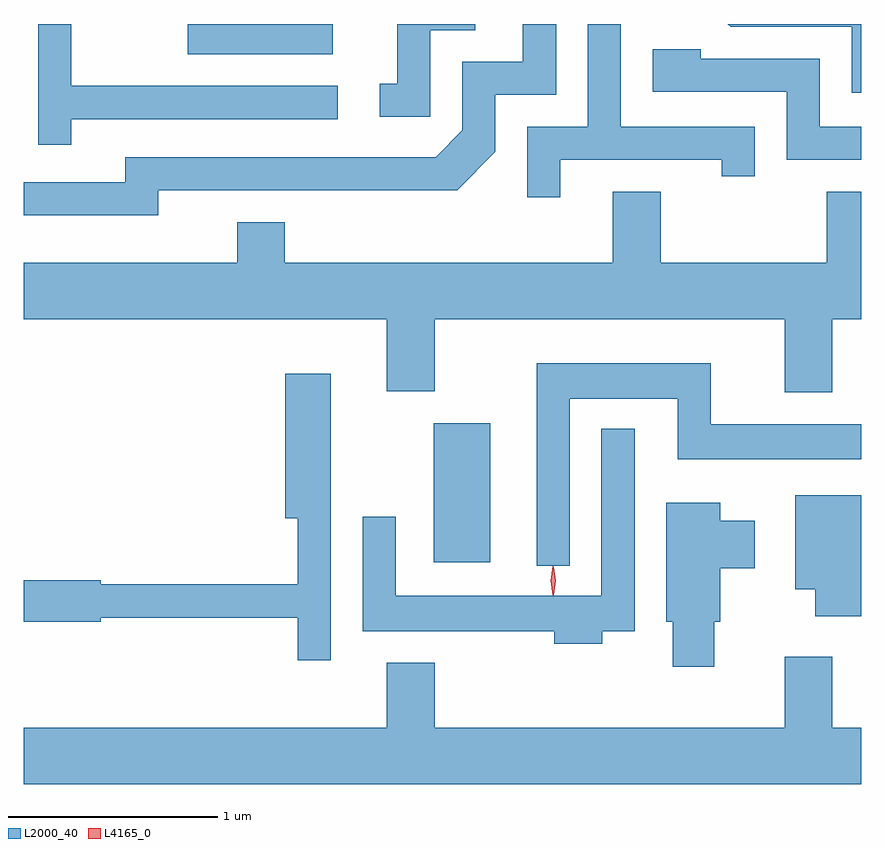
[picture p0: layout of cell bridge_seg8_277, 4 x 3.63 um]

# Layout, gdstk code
import gdstk
lib = gdstk.Library(unit=1e-6, precision=1e-09)
def R(c, l, rs):  # rectangles x0, y0, x1, y1
    for r in rs: c.add(gdstk.rectangle(r[:2], r[2:], *l))
def P(c, l, *ps):  # polygons
    for p in ps: c.add(gdstk.Polygon(p, *l))
L2000_40 = (2000, 40)
L4165_0 = (4165, 0)

bridge_seg8_277 = lib.new_cell('bridge_seg8_277')
R(bridge_seg8_277, L2000_40, [(1317.496,1815.276,1317.764,1815.939), (1316.321,1817.701,1317.014,1817.845)])
P(bridge_seg8_277, L2000_40, [(1315.764,1817.391),(1317.038,1817.391),(1317.038,1817.549),(1315.764,1817.549),(1315.764,1817.845),(1315.606,1817.845),(1315.606,1817.268),(1315.764,1817.268)],
  [(1319.537,1817.845),(1318.9,1817.845),(1318.914,1817.831),(1319.491,1817.831),(1319.491,1817.516),(1319.537,1817.516)],
  [(1318.099,1817.196),(1318.871,1817.196),(1318.871,1817.118),(1319.029,1817.118),(1319.029,1817.354),(1318.389,1817.354),(1318.389,1817.845),(1318.231,1817.845),(1318.231,1817.354),(1317.941,1817.354),(1317.941,1817.018),(1318.099,1817.018)],
  [(1316.179,1817.051),(1317.607,1817.051),(1317.789,1817.234),(1317.789,1817.506),(1318.079,1817.506),(1318.079,1817.845),(1317.921,1817.845),(1317.921,1817.664),(1317.631,1817.664),(1317.631,1817.337),(1317.504,1817.209),(1316.021,1817.209),(1316.021,1817.089),(1315.537,1817.089),(1315.537,1816.931),(1316.179,1816.931)],
  [(1317.479,1817.816),(1317.694,1817.816),(1317.694,1817.845),(1317.321,1817.845),(1317.321,1817.559),(1317.238,1817.559),(1317.238,1817.401),(1317.479,1817.401)],
  [(1319.537,1817.354),(1319.339,1817.354),(1319.339,1817.679),(1318.769,1817.679),(1318.769,1817.724),(1318.541,1817.724),(1318.541,1817.521),(1319.181,1817.521),(1319.181,1817.196),(1319.537,1817.196)],
  [(1319.399,1816.436),(1319.537,1816.436),(1319.537,1817.044),(1319.371,1817.044),(1319.371,1816.704),(1318.579,1816.704),(1318.579,1817.044),(1318.351,1817.044),(1318.351,1816.704),(1316.784,1816.704),(1316.784,1816.899),(1316.556,1816.899),(1316.556,1816.704),(1315.537,1816.704),(1315.537,1816.436),(1317.271,1816.436),(1317.271,1816.091),(1317.499,1816.091),(1317.499,1816.436),(1319.171,1816.436),(1319.171,1816.086),(1319.399,1816.086)],
  [(1318.144,1816.056),(1318.661,1816.056),(1318.661,1815.766),(1319.537,1815.766),(1319.537,1815.934),(1318.819,1815.934),(1318.819,1816.224),(1317.986,1816.224),(1317.986,1815.258),(1318.144,1815.258)],
  [(1317.004,1816.174),(1316.786,1816.174),(1316.786,1815.486),(1316.846,1815.486),(1316.846,1815.169),(1315.904,1815.169),(1315.904,1815.189),(1315.537,1815.189),(1315.537,1814.991),(1315.904,1814.991),(1315.904,1815.011),(1316.846,1815.011),(1316.846,1814.808),(1317.004,1814.808)],
  [(1318.299,1814.946),(1318.454,1814.946),(1318.454,1815.913),(1318.296,1815.913),(1318.296,1815.114),(1317.314,1815.114),(1317.314,1815.493),(1317.156,1815.493),(1317.156,1814.946),(1318.071,1814.946),(1318.071,1814.886),(1318.299,1814.886)],
  [(1319.537,1815.594),(1319.221,1815.594),(1319.221,1815.146),(1319.316,1815.146),(1319.316,1815.016),(1319.537,1815.016)],
  [(1318.834,1814.991),(1318.864,1814.991),(1318.864,1815.246),(1319.029,1815.246),(1319.029,1815.474),(1318.864,1815.474),(1318.864,1815.559),(1318.606,1815.559),(1318.606,1814.991),(1318.636,1814.991),(1318.636,1814.776),(1318.834,1814.776)],
  [(1319.537,1814.484),(1319.399,1814.484),(1319.399,1814.824),(1319.171,1814.824),(1319.171,1814.484),(1317.499,1814.484),(1317.499,1814.794),(1317.271,1814.794),(1317.271,1814.484),(1315.537,1814.484),(1315.537,1814.216),(1319.537,1814.216)])
P(bridge_seg8_277, L4165_0, [(1318.067,1815.119),(1318.066,1815.12),(1318.057,1815.186),(1318.066,1815.252),(1318.067,1815.253),(1318.068,1815.252),(1318.077,1815.186),(1318.068,1815.12)],
  [(1318.064,1815.117),(1318.055,1815.186),(1318.064,1815.256),(1318.065,1815.256),(1318.065,1815.256),(1318.075,1815.186),(1318.065,1815.117),(1318.065,1815.117)])

lib.write_gds('bridge_seg8_277.gds')
